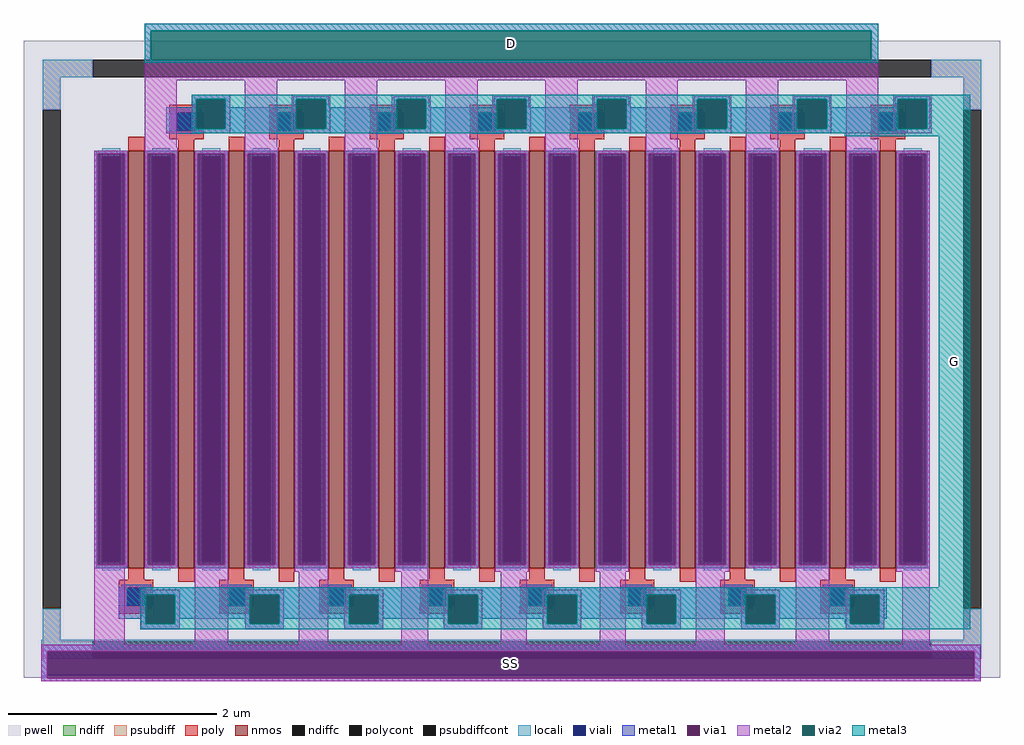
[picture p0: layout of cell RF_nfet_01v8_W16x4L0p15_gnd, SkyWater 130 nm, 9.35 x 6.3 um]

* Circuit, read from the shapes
.subckt RF_nfet_01v8_W16x4L0p15_gnd D G SS
XM1 D G SS SS sky130_fd_pr__nfet_01v8 w=4 l=0.15 m=16
.ends

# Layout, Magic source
magic
tech sky130B
magscale 1 2
<< locali >>
rect -20 -2 1780 20
rect -20 -48 -8 -2
rect 1768 -48 1780 -2
rect -20 -50 1780 -48
<< viali >>
rect -8 -48 1768 -2
<< metal1 >>
rect 268 1055 342 1064
rect 268 1040 277 1055
rect 220 999 277 1040
rect 333 1040 342 1055
rect 463 1055 531 1061
rect 463 1040 469 1055
rect 333 999 469 1040
rect 525 1040 531 1055
rect 655 1055 723 1061
rect 655 1040 661 1055
rect 525 999 661 1040
rect 717 1040 723 1055
rect 847 1055 915 1061
rect 847 1040 853 1055
rect 717 999 853 1040
rect 909 1040 915 1055
rect 1039 1055 1107 1061
rect 1039 1040 1045 1055
rect 909 999 1045 1040
rect 1101 1040 1107 1055
rect 1231 1055 1299 1061
rect 1231 1040 1237 1055
rect 1101 999 1237 1040
rect 1293 1040 1299 1055
rect 1423 1055 1491 1061
rect 1423 1040 1429 1055
rect 1293 999 1429 1040
rect 1485 1040 1491 1055
rect 1615 1055 1683 1061
rect 1615 1040 1621 1055
rect 1485 999 1621 1040
rect 1677 999 1683 1055
rect 220 990 1640 999
rect 82 951 146 957
rect 82 163 88 951
rect 140 163 146 951
rect 82 157 146 163
rect 178 951 242 957
rect 178 163 184 951
rect 236 163 242 951
rect 178 157 242 163
rect 274 951 338 957
rect 274 163 280 951
rect 332 163 338 951
rect 274 157 338 163
rect 370 951 434 957
rect 370 163 376 951
rect 428 163 434 951
rect 370 157 434 163
rect 466 951 530 957
rect 466 163 472 951
rect 524 163 530 951
rect 466 157 530 163
rect 562 951 626 957
rect 562 163 568 951
rect 620 163 626 951
rect 562 157 626 163
rect 658 951 722 957
rect 658 163 664 951
rect 716 163 722 951
rect 658 157 722 163
rect 754 951 818 957
rect 754 163 760 951
rect 812 163 818 951
rect 754 157 818 163
rect 850 951 914 957
rect 850 163 856 951
rect 908 163 914 951
rect 850 157 914 163
rect 946 951 1010 957
rect 946 163 952 951
rect 1004 163 1010 951
rect 946 157 1010 163
rect 1042 951 1106 957
rect 1042 163 1048 951
rect 1100 163 1106 951
rect 1042 157 1106 163
rect 1138 951 1202 957
rect 1138 163 1144 951
rect 1196 163 1202 951
rect 1138 157 1202 163
rect 1234 951 1298 957
rect 1234 163 1240 951
rect 1292 163 1298 951
rect 1234 157 1298 163
rect 1330 951 1394 957
rect 1330 163 1336 951
rect 1388 163 1394 951
rect 1330 157 1394 163
rect 1426 951 1490 957
rect 1426 163 1432 951
rect 1484 163 1490 951
rect 1426 157 1490 163
rect 1522 951 1586 957
rect 1522 163 1528 951
rect 1580 163 1586 951
rect 1522 157 1586 163
rect 1618 951 1682 957
rect 1618 163 1624 951
rect 1676 163 1682 951
rect 1618 157 1682 163
rect 129 106 1600 120
rect 129 60 180 106
rect 170 50 180 60
rect 236 60 380 106
rect 236 50 245 60
rect 370 50 380 60
rect 436 60 570 106
rect 436 50 445 60
rect 560 50 570 60
rect 626 60 760 106
rect 626 50 635 60
rect 750 50 760 60
rect 816 60 950 106
rect 816 50 825 60
rect 940 50 950 60
rect 1006 60 1140 106
rect 1006 50 1015 60
rect 1130 50 1140 60
rect 1196 60 1330 106
rect 1196 50 1205 60
rect 1320 50 1330 60
rect 1386 60 1530 106
rect 1386 50 1395 60
rect 1520 50 1530 60
rect 1586 60 1600 106
rect 1586 50 1595 60
rect 171 41 245 50
rect 371 41 445 50
rect 561 41 635 50
rect 751 41 825 50
rect 941 41 1015 50
rect 1131 41 1205 50
rect 1321 41 1395 50
rect 1521 41 1595 50
rect -20 -2 1780 10
rect -20 -54 -8 -2
rect 1768 -54 1780 -2
rect -20 -60 1780 -54
<< via1 >>
rect 277 999 333 1055
rect 469 999 525 1055
rect 661 999 717 1055
rect 853 999 909 1055
rect 1045 999 1101 1055
rect 1237 999 1293 1055
rect 1429 999 1485 1055
rect 1621 999 1677 1055
rect 88 163 140 951
rect 184 163 236 951
rect 280 163 332 951
rect 376 163 428 951
rect 472 163 524 951
rect 568 163 620 951
rect 664 163 716 951
rect 760 163 812 951
rect 856 163 908 951
rect 952 163 1004 951
rect 1048 163 1100 951
rect 1144 163 1196 951
rect 1240 163 1292 951
rect 1336 163 1388 951
rect 1432 163 1484 951
rect 1528 163 1580 951
rect 1624 163 1676 951
rect 180 50 236 106
rect 380 50 436 106
rect 570 50 626 106
rect 760 50 816 106
rect 950 50 1006 106
rect 1140 50 1196 106
rect 1330 50 1386 106
rect 1530 50 1586 106
rect -8 -48 1768 -2
rect -8 -54 1768 -48
<< metal2 >>
rect 178 1186 1584 1200
rect 178 1130 190 1186
rect 1570 1130 1584 1186
rect 178 1092 1584 1130
rect 178 962 240 1092
rect 268 1055 342 1064
rect 268 999 277 1055
rect 333 999 342 1055
rect 268 990 342 999
rect 370 962 432 1092
rect 460 1055 534 1064
rect 460 999 469 1055
rect 525 999 534 1055
rect 460 990 534 999
rect 562 962 624 1092
rect 652 1055 726 1064
rect 652 999 661 1055
rect 717 999 726 1055
rect 652 990 726 999
rect 754 962 816 1092
rect 844 1055 918 1064
rect 844 999 853 1055
rect 909 999 918 1055
rect 844 990 918 999
rect 946 962 1008 1092
rect 1036 1055 1110 1064
rect 1036 999 1045 1055
rect 1101 999 1110 1055
rect 1036 990 1110 999
rect 1138 962 1200 1092
rect 1228 1055 1302 1064
rect 1228 999 1237 1055
rect 1293 999 1302 1055
rect 1228 990 1302 999
rect 1330 962 1392 1092
rect 1420 1055 1494 1064
rect 1420 999 1429 1055
rect 1485 999 1494 1055
rect 1420 990 1494 999
rect 82 951 146 957
rect 82 163 88 951
rect 140 163 146 951
rect 82 160 146 163
rect 178 951 242 962
rect 178 163 184 951
rect 236 163 242 951
rect 82 10 140 160
rect 178 157 242 163
rect 274 951 338 957
rect 274 163 280 951
rect 332 163 338 951
rect 171 106 245 115
rect 171 50 180 106
rect 236 50 245 106
rect 171 41 245 50
rect 274 10 338 163
rect 370 951 434 962
rect 370 163 376 951
rect 428 163 434 951
rect 370 157 434 163
rect 466 951 530 957
rect 466 163 472 951
rect 524 163 530 951
rect 466 150 530 163
rect 562 951 626 962
rect 562 163 568 951
rect 620 163 626 951
rect 562 157 626 163
rect 658 951 722 957
rect 658 163 664 951
rect 716 163 722 951
rect 658 150 722 163
rect 754 951 818 962
rect 754 163 760 951
rect 812 163 818 951
rect 754 157 818 163
rect 850 951 914 957
rect 850 163 856 951
rect 908 163 914 951
rect 850 150 914 163
rect 946 951 1010 962
rect 946 163 952 951
rect 1004 163 1010 951
rect 946 157 1010 163
rect 1042 951 1106 957
rect 1042 163 1048 951
rect 1100 163 1106 951
rect 1042 150 1106 163
rect 1138 951 1202 962
rect 1138 163 1144 951
rect 1196 163 1202 951
rect 1138 157 1202 163
rect 1234 951 1298 957
rect 1234 163 1240 951
rect 1292 163 1298 951
rect 1234 150 1298 163
rect 1330 951 1394 962
rect 1522 957 1584 1092
rect 1612 1055 1686 1064
rect 1612 999 1621 1055
rect 1677 999 1686 1055
rect 1612 990 1686 999
rect 1330 163 1336 951
rect 1388 163 1394 951
rect 1330 157 1394 163
rect 1426 951 1490 957
rect 1426 163 1432 951
rect 1484 163 1490 951
rect 371 106 445 115
rect 371 50 380 106
rect 436 50 445 106
rect 371 41 445 50
rect 473 10 530 150
rect 561 106 635 115
rect 561 50 570 106
rect 626 50 635 106
rect 561 41 635 50
rect 670 10 722 150
rect 751 106 825 115
rect 751 50 760 106
rect 816 50 825 106
rect 751 41 825 50
rect 860 10 910 150
rect 941 106 1015 115
rect 941 50 950 106
rect 1006 50 1015 106
rect 941 41 1015 50
rect 1050 10 1100 150
rect 1131 106 1205 115
rect 1131 50 1140 106
rect 1196 50 1205 106
rect 1131 41 1205 50
rect 1234 10 1290 150
rect 1321 106 1395 115
rect 1321 50 1330 106
rect 1386 50 1395 106
rect 1321 41 1395 50
rect 1426 10 1490 163
rect 1522 951 1586 957
rect 1522 163 1528 951
rect 1580 163 1586 951
rect 1522 157 1586 163
rect 1618 951 1682 957
rect 1618 163 1624 951
rect 1676 163 1682 951
rect 1618 150 1682 163
rect 1521 106 1595 115
rect 1521 50 1530 106
rect 1586 50 1595 106
rect 1521 41 1595 50
rect 1630 10 1682 150
rect -20 -2 1780 10
rect -20 -54 -8 -2
rect 1768 -54 1780 -2
rect -20 -60 1780 -54
<< via2 >>
rect 190 1130 1570 1186
rect 277 999 333 1055
rect 469 999 525 1055
rect 661 999 717 1055
rect 853 999 909 1055
rect 1045 999 1101 1055
rect 1237 999 1293 1055
rect 1429 999 1485 1055
rect 180 50 236 106
rect 1621 999 1677 1055
rect 380 50 436 106
rect 570 50 626 106
rect 760 50 816 106
rect 950 50 1006 106
rect 1140 50 1196 106
rect 1330 50 1386 106
rect 1530 50 1586 106
<< metal3 >>
rect 178 1186 1584 1200
rect 178 1130 190 1186
rect 1570 1130 1584 1186
rect 178 1125 1584 1130
rect 268 1055 1760 1064
rect 268 999 277 1055
rect 333 999 469 1055
rect 525 999 661 1055
rect 717 999 853 1055
rect 909 999 1045 1055
rect 1101 999 1237 1055
rect 1293 999 1429 1055
rect 1485 999 1621 1055
rect 1677 999 1760 1055
rect 268 990 1760 999
rect 1520 984 1760 990
rect 1700 120 1760 984
rect 170 106 1760 120
rect 170 50 180 106
rect 236 50 380 106
rect 436 50 570 106
rect 626 50 760 106
rect 816 50 950 106
rect 1006 50 1140 106
rect 1196 50 1330 106
rect 1386 50 1530 106
rect 1586 50 1760 106
rect 170 40 1760 50
use sky130_fd_pr__nfet_01v8_7RL2PV  sky130_fd_pr__nfet_01v8_7RL2PV_0
transform 1 0 882 0 1 557
box -935 -610 935 610
<< labels >>
rlabel metal3 178 1125 1584 1200 1 D
rlabel metal2 -20 -60 1780 10 1 SS
rlabel metal3 1700 40 1760 1064 1 G
<< end >>

# cell sky130_fd_pr__nfet_01v8_7RL2PV: kit device sky130_fd_pr__nfet_01v8, w 4 l 0.150 m 1 nf 16 diffcov 100 polycov 100 guard 1 glc 1 grc 1 gtc 1 gbc 1 tbcov 100 rlcov 100 topc 1 botc 1 poverlap 0 doverlap 1 lmin 0.15 wmin 0.42 compatible {sky130_fd_pr__nfet_01v8 sky130_fd_pr__nfet_01v8_lvt sky130_fd_bs_flash__special_sonosfet_star sky130_fd_pr__nfet_g5v0d10v5 sky130_fd_pr__nfet_05v0_nvt sky130_fd_pr__nfet_03v3_nvt} full_metal 1 viasrc 100 viadrn 100 viagate 100 viagb 0 viagr 0 viagl 0 viagt 0
